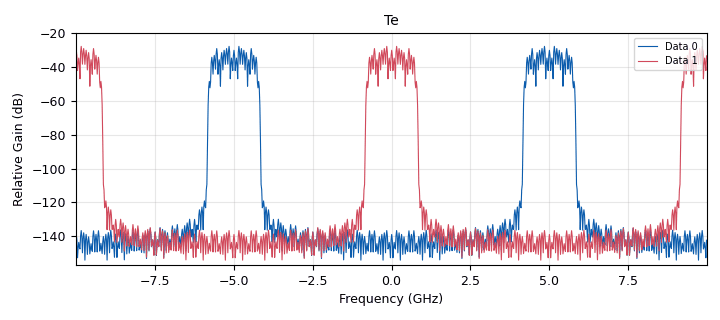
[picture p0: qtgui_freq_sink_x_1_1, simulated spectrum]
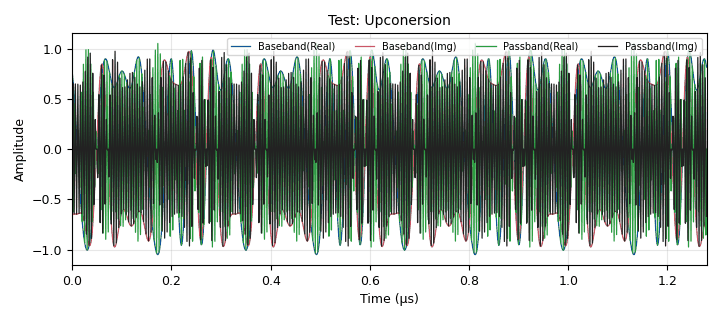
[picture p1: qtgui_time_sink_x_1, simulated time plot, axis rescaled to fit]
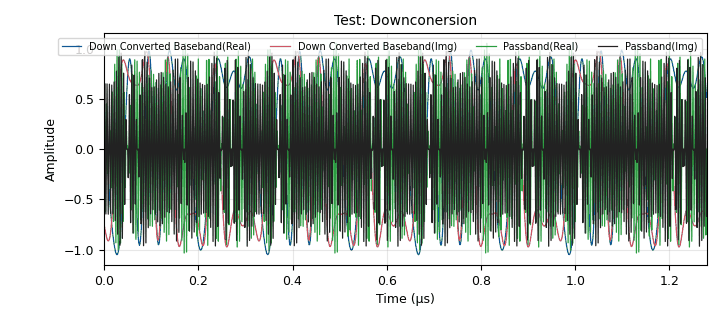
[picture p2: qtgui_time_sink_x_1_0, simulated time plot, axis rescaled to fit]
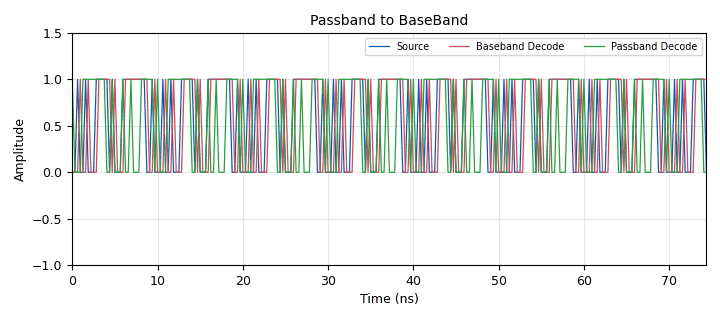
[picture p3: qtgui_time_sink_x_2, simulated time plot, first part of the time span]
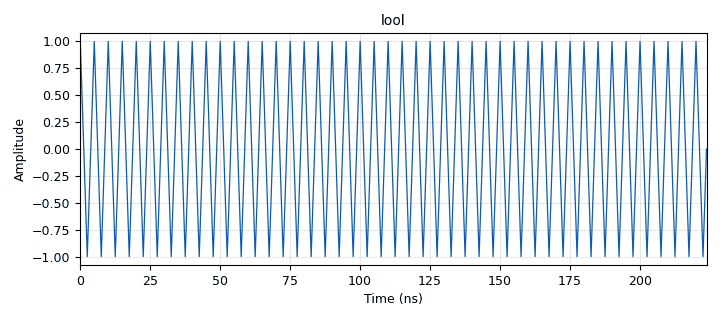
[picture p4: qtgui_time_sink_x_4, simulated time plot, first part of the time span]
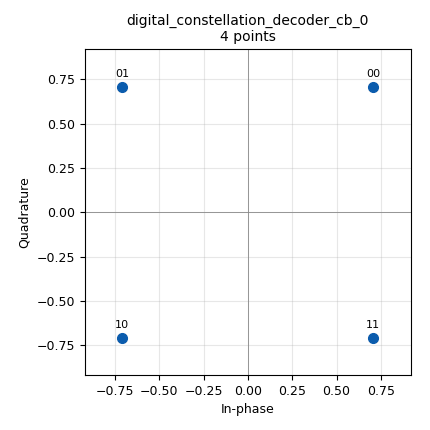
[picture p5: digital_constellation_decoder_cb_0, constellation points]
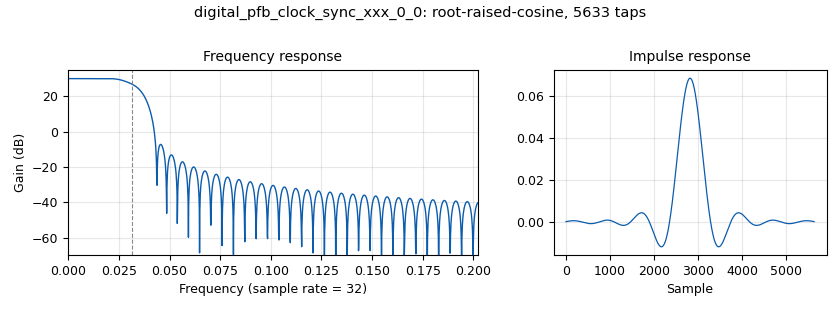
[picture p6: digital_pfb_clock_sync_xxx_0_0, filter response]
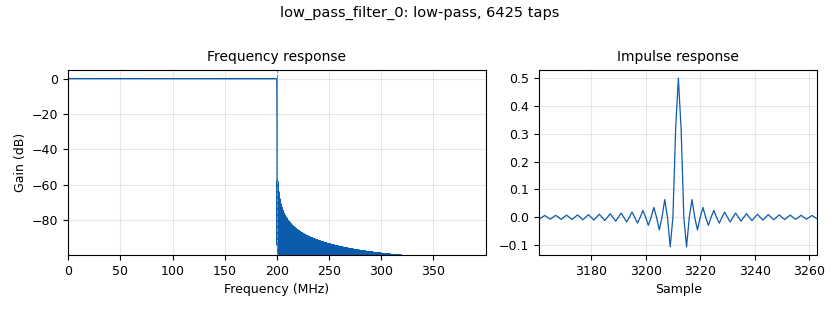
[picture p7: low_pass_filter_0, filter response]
<?xml version='1.0' encoding='utf-8'?>
<?grc format='1' created='3.7.11'?>
<flow_graph>
<block>
<key>options</key>
<param><key>id</key><value>message_test</value></param>
<param><key>generate_options</key><value>qt_gui</value></param>
</block>
<block>
<key>variable</key>
<param><key>id</key><value>arity</value></param>
<param><key>value</key><value>4</value></param>
</block>
<block>
<key>variable</key>
<param><key>id</key><value>center_freq</value></param>
<param><key>value</key><value>200e6</value></param>
</block>
<block>
<key>variable</key>
<param><key>id</key><value>down_var</value></param>
<param><key>value</key><value>12</value></param>
</block>
<block>
<key>variable</key>
<param><key>id</key><value>eq_gain</value></param>
<param><key>value</key><value>10e-3</value></param>
</block>
<block>
<key>variable</key>
<param><key>id</key><value>excess_bw</value></param>
<param><key>value</key><value>0.35</value></param>
</block>
<block>
<key>variable</key>
<param><key>id</key><value>lpf_cutoff_freq</value></param>
<param><key>value</key><value>center_freq</value></param>
</block>
<block>
<key>variable</key>
<param><key>id</key><value>lpf_transition_width</value></param>
<param><key>value</key><value>300e3</value></param>
</block>
<block>
<key>variable</key>
<param><key>id</key><value>nfilts</value></param>
<param><key>value</key><value>32</value></param>
</block>
<block>
<key>variable</key>
<param><key>id</key><value>phase_bw</value></param>
<param><key>value</key><value>62.8e-3</value></param>
</block>
<block>
<key>variable_constellation_rect</key>
<param><key>id</key><value>qpsk</value></param>
<param><key>const_points</key><value>[1+1j, -1+1j, -1-1j, 1-1j]</value></param>
<param><key>imag_sect</key><value>2</value></param>
<param><key>real_sect</key><value>2</value></param>
<param><key>rot_sym</key><value>4</value></param>
<param><key>sym_map</key><value>[0, 1, 2, 3]</value></param>
<param><key>w_imag_sect</key><value>1</value></param>
<param><key>w_real_sect</key><value>1</value></param>
</block>
<block>
<key>variable</key>
<param><key>id</key><value>rrc_taps</value></param>
<param><key>value</key><value>firdes.root_raised_cosine(nfilts, nfilts, 1.0/float(sps), 0.35, 11*sps*nfilts)</value></param>
</block>
<block>
<key>variable</key>
<param><key>id</key><value>samp_rate</value></param>
<param><key>value</key><value>800e6</value></param>
</block>
<block>
<key>variable</key>
<param><key>id</key><value>samp_rate_0</value></param>
<param><key>value</key><value>10e3</value></param>
</block>
<block>
<key>variable</key>
<param><key>id</key><value>sps</value></param>
<param><key>value</key><value>16</value></param>
</block>
<block>
<key>variable</key>
<param><key>id</key><value>taps</value></param>
<param><key>value</key><value>[1.0 + 0.0j, ]</value></param>
</block>
<block>
<key>variable</key>
<param><key>id</key><value>taps_0</value></param>
<param><key>value</key><value>[1.0, 0.25-0.25j, 0.50 + 0.10j, -0.3 + 0.2j]</value></param>
</block>
<block>
<key>variable</key>
<param><key>id</key><value>timing_loop_bw</value></param>
<param><key>value</key><value>62.8e-3</value></param>
</block>
<block>
<key>analog_random_source_x</key>
<param><key>id</key><value>analog_random_source_x_0</value></param>
<param><key>_enabled</key><value>0</value></param>
<param><key>max</key><value>255</value></param>
<param><key>min</key><value>254</value></param>
<param><key>num_samps</key><value>3000</value></param>
<param><key>type</key><value>byte</value></param>
<param><key>repeat</key><value>False</value></param>
</block>
<block>
<key>analog_sig_source_x</key>
<param><key>id</key><value>analog_sig_source_x_0</value></param>
<param><key>amp</key><value>1</value></param>
<param><key>freq</key><value>center_freq</value></param>
<param><key>offset</key><value>0</value></param>
<param><key>type</key><value>float</value></param>
<param><key>samp_rate</key><value>samp_rate</value></param>
<param><key>waveform</key><value>analog.GR_COS_WAVE</value></param>
</block>
<block>
<key>analog_sig_source_x</key>
<param><key>id</key><value>analog_sig_source_x_0_0</value></param>
<param><key>amp</key><value>-1</value></param>
<param><key>freq</key><value>center_freq</value></param>
<param><key>offset</key><value>0</value></param>
<param><key>type</key><value>float</value></param>
<param><key>samp_rate</key><value>samp_rate</value></param>
<param><key>waveform</key><value>analog.GR_SIN_WAVE</value></param>
</block>
<block>
<key>blks2_packet_decoder</key>
<param><key>id</key><value>blks2_packet_decoder_0</value></param>
<param><key>access_code</key><value></value></param>
<param><key>_enabled</key><value>0</value></param>
<param><key>type</key><value>byte</value></param>
<param><key>threshold</key><value>-1</value></param>
</block>
<block>
<key>blks2_packet_encoder</key>
<param><key>id</key><value>blks2_packet_encoder_0</value></param>
<param><key>access_code</key><value></value></param>
<param><key>bits_per_symbol</key><value>1</value></param>
<param><key>_enabled</key><value>0</value></param>
<param><key>type</key><value>byte</value></param>
<param><key>pad_for_usrp</key><value>False</value></param>
<param><key>payload_length</key><value>1</value></param>
<param><key>preamble</key><value></value></param>
<param><key>samples_per_symbol</key><value>1</value></param>
</block>
<block>
<key>blks2_tcp_sink</key>
<param><key>id</key><value>blks2_tcp_sink_0</value></param>
<param><key>addr</key><value>127.0.0.1</value></param>
<param><key>_enabled</key><value>0</value></param>
<param><key>type</key><value>byte</value></param>
<param><key>server</key><value>False</value></param>
<param><key>port</key><value>9989</value></param>
<param><key>vlen</key><value>1</value></param>
</block>
<block>
<key>blks2_tcp_source</key>
<param><key>id</key><value>blks2_tcp_source_0</value></param>
<param><key>addr</key><value>127.0.0.1</value></param>
<param><key>_enabled</key><value>0</value></param>
<param><key>server</key><value>True</value></param>
<param><key>type</key><value>byte</value></param>
<param><key>port</key><value>1234</value></param>
<param><key>vlen</key><value>1</value></param>
</block>
<block>
<key>blocks_char_to_float</key>
<param><key>id</key><value>blocks_char_to_float_1</value></param>
<param><key>scale</key><value>1</value></param>
</block>
<block>
<key>blocks_char_to_float</key>
<param><key>id</key><value>blocks_char_to_float_2</value></param>
<param><key>scale</key><value>1</value></param>
</block>
<block>
<key>blocks_char_to_float</key>
<param><key>id</key><value>blocks_char_to_float_3</value></param>
<param><key>scale</key><value>1</value></param>
</block>
<block>
<key>blocks_complex_to_float</key>
<param><key>id</key><value>blocks_complex_to_float_0</value></param>
</block>
<block>
<key>blocks_complex_to_float</key>
<param><key>id</key><value>blocks_complex_to_float_1</value></param>
</block>
<block>
<key>blocks_delay</key>
<param><key>id</key><value>blocks_delay_0</value></param>
<param><key>delay</key><value>58</value></param>
<param><key>_enabled</key><value>0</value></param>
<param><key>type</key><value>float</value></param>
</block>
<block>
<key>blocks_float_to_complex</key>
<param><key>id</key><value>blocks_float_to_complex_0</value></param>
</block>
<block>
<key>blocks_float_to_complex</key>
<param><key>id</key><value>blocks_float_to_complex_1</value></param>
</block>
<block>
<key>blocks_multiply_const_vxx</key>
<param><key>id</key><value>blocks_multiply_const_vxx_0</value></param>
<param><key>const</key><value>2</value></param>
<param><key>type</key><value>complex</value></param>
</block>
<block>
<key>blocks_multiply_xx</key>
<param><key>id</key><value>blocks_multiply_xx_0</value></param>
<param><key>type</key><value>float</value></param>
</block>
<block>
<key>blocks_multiply_xx</key>
<param><key>id</key><value>blocks_multiply_xx_0_0</value></param>
<param><key>type</key><value>float</value></param>
</block>
<block>
<key>blocks_multiply_xx</key>
<param><key>id</key><value>blocks_multiply_xx_0_0_0</value></param>
<param><key>type</key><value>float</value></param>
</block>
<block>
<key>blocks_multiply_xx</key>
<param><key>id</key><value>blocks_multiply_xx_0_1</value></param>
<param><key>type</key><value>float</value></param>
</block>
<block>
<key>blocks_stream_to_tagged_stream</key>
<param><key>id</key><value>blocks_stream_to_tagged_stream_0</value></param>
<param><key>_enabled</key><value>0</value></param>
<param><key>len_tag_key</key><value>"packet_len"</value></param>
<param><key>packet_len</key><value>4</value></param>
<param><key>type</key><value>byte</value></param>
</block>
<block>
<key>blocks_throttle</key>
<param><key>id</key><value>blocks_throttle_0</value></param>
<param><key>samples_per_second</key><value>10e6</value></param>
<param><key>type</key><value>byte</value></param>
</block>
<block>
<key>blocks_uchar_to_float</key>
<param><key>id</key><value>blocks_uchar_to_float_0_0</value></param>
<param><key>_enabled</key><value>0</value></param>
</block>
<block>
<key>blocks_unpack_k_bits_bb</key>
<param><key>id</key><value>blocks_unpack_k_bits_bb_0</value></param>
<param><key>k</key><value>2</value></param>
</block>
<block>
<key>blocks_unpack_k_bits_bb</key>
<param><key>id</key><value>blocks_unpack_k_bits_bb_1</value></param>
<param><key>k</key><value>8</value></param>
</block>
<block>
<key>blocks_unpack_k_bits_bb</key>
<param><key>id</key><value>blocks_unpack_k_bits_bb_2</value></param>
<param><key>k</key><value>2</value></param>
</block>
<block>
<key>blocks_vector_source_x</key>
<param><key>id</key><value>blocks_vector_source_x_0</value></param>
<param><key>type</key><value>byte</value></param>
<param><key>repeat</key><value>True</value></param>
<param><key>vector</key><value>(255, 145, 35,  232)</value></param>
</block>
<block>
<key>blocks_delay</key>
<param><key>id</key><value>delay1</value></param>
<param><key>delay</key><value>down_var-10</value></param>
<param><key>type</key><value>float</value></param>
</block>
<block>
<key>blocks_delay</key>
<param><key>id</key><value>delay1_0</value></param>
<param><key>delay</key><value>58+down_var-7</value></param>
<param><key>type</key><value>byte</value></param>
</block>
<block>
<key>digital_constellation_decoder_cb</key>
<param><key>id</key><value>digital_constellation_decoder_cb_0</value></param>
<param><key>constellation</key><value>qpsk</value></param>
</block>
<block>
<key>digital_constellation_decoder_cb</key>
<param><key>id</key><value>digital_constellation_decoder_cb_0_0</value></param>
<param><key>constellation</key><value>qpsk</value></param>
</block>
<block>
<key>digital_constellation_modulator</key>
<param><key>id</key><value>digital_constellation_modulator_0</value></param>
<param><key>constellation</key><value>qpsk</value></param>
<param><key>differential</key><value>False</value></param>
<param><key>excess_bw</key><value>excess_bw</value></param>
<param><key>samples_per_symbol</key><value>sps</value></param>
<param><key>verbose</key><value>True</value></param>
</block>
<block>
<key>digital_map_bb</key>
<param><key>id</key><value>digital_map_bb_0_0</value></param>
<param><key>map</key><value>qpsk.pre_diff_code()</value></param>
</block>
<block>
<key>digital_map_bb</key>
<param><key>id</key><value>digital_map_bb_0_0_0</value></param>
<param><key>map</key><value>qpsk.pre_diff_code()</value></param>
</block>
<block>
<key>digital_pfb_clock_sync_xxx</key>
<param><key>id</key><value>digital_pfb_clock_sync_xxx_0_0</value></param>
<param><key>filter_size</key><value>nfilts</value></param>
<param><key>init_phase</key><value>nfilts/2</value></param>
<param><key>loop_bw</key><value>timing_loop_bw</value></param>
<param><key>max_dev</key><value>1.5</value></param>
<param><key>osps</key><value>1</value></param>
<param><key>sps</key><value>sps</value></param>
<param><key>taps</key><value>rrc_taps</value></param>
<param><key>type</key><value>ccf</value></param>
</block>
<block>
<key>digital_pfb_clock_sync_xxx</key>
<param><key>id</key><value>digital_pfb_clock_sync_xxx_0_0_0</value></param>
<param><key>filter_size</key><value>nfilts</value></param>
<param><key>init_phase</key><value>nfilts/2</value></param>
<param><key>loop_bw</key><value>timing_loop_bw</value></param>
<param><key>max_dev</key><value>1.5</value></param>
<param><key>osps</key><value>1</value></param>
<param><key>sps</key><value>sps</value></param>
<param><key>taps</key><value>rrc_taps</value></param>
<param><key>type</key><value>ccf</value></param>
</block>
<block>
<key>low_pass_filter</key>
<param><key>id</key><value>low_pass_filter_0</value></param>
<param><key>cutoff_freq</key><value>lpf_cutoff_freq</value></param>
<param><key>decim</key><value>1</value></param>
<param><key>type</key><value>fir_filter_fff</value></param>
<param><key>gain</key><value>1</value></param>
<param><key>samp_rate</key><value>samp_rate</value></param>
<param><key>width</key><value>lpf_transition_width</value></param>
<param><key>win</key><value>firdes.WIN_HAMMING</value></param>
</block>
<block>
<key>low_pass_filter</key>
<param><key>id</key><value>low_pass_filter_0_0</value></param>
<param><key>cutoff_freq</key><value>lpf_cutoff_freq</value></param>
<param><key>decim</key><value>1</value></param>
<param><key>type</key><value>fir_filter_fff</value></param>
<param><key>gain</key><value>1</value></param>
<param><key>samp_rate</key><value>samp_rate</value></param>
<param><key>width</key><value>lpf_transition_width</value></param>
<param><key>win</key><value>firdes.WIN_HAMMING</value></param>
</block>
<block>
<key>note</key>
<param><key>id</key><value>note_0</value></param>
<param><key>_enabled</key><value>0</value></param>
<param><key>note</key><value>Output SPS has to be 1 to have Const Sink to work</value></param>
</block>
<block>
<key>qtgui_const_sink_x</key>
<param><key>id</key><value>qtgui_const_sink_x_0</value></param>
<param><key>_enabled</key><value>0</value></param>
<param><key>size</key><value>1024</value></param>
<param><key>type</key><value>complex</value></param>
</block>
<block>
<key>qtgui_freq_sink_x</key>
<param><key>id</key><value>qtgui_freq_sink_x_1</value></param>
<param><key>autoscale</key><value>True</value></param>
<param><key>bw</key><value>samp_rate*50</value></param>
<param><key>fc</key><value>3e6</value></param>
<param><key>_enabled</key><value>0</value></param>
<param><key>fftsize</key><value>1024</value></param>
<param><key>name</key><value>"Bandpass Demod Freq"</value></param>
<param><key>showports</key><value>True</value></param>
<param><key>type</key><value>complex</value></param>
<param><key>wintype</key><value>firdes.WIN_BLACKMAN_hARRIS</value></param>
<param><key>ymax</key><value>0</value></param>
<param><key>ymin</key><value>-100</value></param>
</block>
<block>
<key>qtgui_freq_sink_x</key>
<param><key>id</key><value>qtgui_freq_sink_x_1_0</value></param>
<param><key>bw</key><value>samp_rate</value></param>
<param><key>fc</key><value>0</value></param>
<param><key>_enabled</key><value>0</value></param>
<param><key>fftsize</key><value>1024</value></param>
<param><key>name</key><value>"Baseband Freq"</value></param>
<param><key>showports</key><value>True</value></param>
<param><key>type</key><value>complex</value></param>
<param><key>wintype</key><value>firdes.WIN_BLACKMAN_hARRIS</value></param>
<param><key>ymax</key><value>0</value></param>
<param><key>ymin</key><value>-100</value></param>
</block>
<block>
<key>qtgui_freq_sink_x</key>
<param><key>id</key><value>qtgui_freq_sink_x_1_1</value></param>
<param><key>autoscale</key><value>True</value></param>
<param><key>bw</key><value>20e9</value></param>
<param><key>fc</key><value>3e6</value></param>
<param><key>fftsize</key><value>1024</value></param>
<param><key>label2</key><value></value></param>
<param><key>name</key><value>"Te"</value></param>
<param><key>nconnections</key><value>2</value></param>
<param><key>showports</key><value>True</value></param>
<param><key>type</key><value>float</value></param>
<param><key>wintype</key><value>firdes.WIN_BLACKMAN_hARRIS</value></param>
<param><key>ymax</key><value>0</value></param>
<param><key>ymin</key><value>-100</value></param>
</block>
<block>
<key>qtgui_time_sink_x</key>
<param><key>id</key><value>qtgui_time_sink_x_0</value></param>
<param><key>_enabled</key><value>0</value></param>
<param><key>color1</key><value>"blue"</value></param>
<param><key>label1</key><value>Input Bits</value></param>
<param><key>color2</key><value>"red"</value></param>
<param><key>label2</key><value>Output Bits</value></param>
<param><key>name</key><value>"Numbers Before and After Modulation"</value></param>
<param><key>nconnections</key><value>2</value></param>
<param><key>size</key><value>1024</value></param>
<param><key>srate</key><value>samp_rate</value></param>
<param><key>tr_level</key><value>1</value></param>
<param><key>tr_mode</key><value>qtgui.TRIG_MODE_NORM</value></param>
<param><key>tr_tag</key><value>"packet_len"</value></param>
<param><key>type</key><value>float</value></param>
<param><key>ymax</key><value>1.5</value></param>
<param><key>ymin</key><value>-0.5</value></param>
</block>
<block>
<key>qtgui_time_sink_x</key>
<param><key>id</key><value>qtgui_time_sink_x_1</value></param>
<param><key>color1</key><value>"blue"</value></param>
<param><key>label1</key><value>Baseband(Real)</value></param>
<param><key>color2</key><value>"blue"</value></param>
<param><key>label2</key><value>Baseband(Img)</value></param>
<param><key>color3</key><value>"green"</value></param>
<param><key>label3</key><value>Passband(Real)</value></param>
<param><key>color4</key><value>"black"</value></param>
<param><key>label4</key><value>Passband(Img)</value></param>
<param><key>name</key><value>"Test: Upconersion"</value></param>
<param><key>nconnections</key><value>2</value></param>
<param><key>size</key><value>1024</value></param>
<param><key>srate</key><value>samp_rate</value></param>
<param><key>type</key><value>complex</value></param>
</block>
<block>
<key>qtgui_time_sink_x</key>
<param><key>id</key><value>qtgui_time_sink_x_1_0</value></param>
<param><key>color1</key><value>"blue"</value></param>
<param><key>label1</key><value>Down Converted Baseband(Real)</value></param>
<param><key>color2</key><value>"red"</value></param>
<param><key>label2</key><value>Down Converted Baseband(Img)</value></param>
<param><key>color3</key><value>"green"</value></param>
<param><key>label3</key><value>Passband(Real)</value></param>
<param><key>color4</key><value>"black"</value></param>
<param><key>label4</key><value>Passband(Img)</value></param>
<param><key>name</key><value>"Test: Downconersion"</value></param>
<param><key>nconnections</key><value>2</value></param>
<param><key>size</key><value>1024</value></param>
<param><key>srate</key><value>samp_rate</value></param>
<param><key>type</key><value>complex</value></param>
</block>
<block>
<key>qtgui_time_sink_x</key>
<param><key>id</key><value>qtgui_time_sink_x_2</value></param>
<param><key>color1</key><value>"blue"</value></param>
<param><key>label1</key><value>Source</value></param>
<param><key>color2</key><value>"red"</value></param>
<param><key>label2</key><value>Baseband Decode</value></param>
<param><key>color3</key><value>"green"</value></param>
<param><key>label3</key><value>Passband Decode</value></param>
<param><key>name</key><value>"Passband to BaseBand"</value></param>
<param><key>nconnections</key><value>3</value></param>
<param><key>size</key><value>500</value></param>
<param><key>srate</key><value>samp_rate*4</value></param>
<param><key>tr_level</key><value>1</value></param>
<param><key>type</key><value>float</value></param>
<param><key>ymax</key><value>1.5</value></param>
</block>
<block>
<key>qtgui_time_sink_x</key>
<param><key>id</key><value>qtgui_time_sink_x_3</value></param>
<param><key>_enabled</key><value>0</value></param>
<param><key>color1</key><value>"blue"</value></param>
<param><key>label1</key><value></value></param>
<param><key>color2</key><value>"red"</value></param>
<param><key>label2</key><value></value></param>
<param><key>name</key><value>"Down Conversion"</value></param>
<param><key>size</key><value>1024</value></param>
<param><key>srate</key><value>samp_rate</value></param>
<param><key>type</key><value>complex</value></param>
</block>
<block>
<key>qtgui_time_sink_x</key>
<param><key>id</key><value>qtgui_time_sink_x_4</value></param>
<param><key>color1</key><value>"blue"</value></param>
<param><key>label1</key><value></value></param>
<param><key>name</key><value>"lool"</value></param>
<param><key>size</key><value>1024*2</value></param>
<param><key>srate</key><value>samp_rate</value></param>
<param><key>type</key><value>float</value></param>
</block>
<block>
<key>virtual_sink</key>
<param><key>id</key><value>virtual_sink_0</value></param>
<param><key>stream_id</key><value>source</value></param>
</block>
<block>
<key>virtual_sink</key>
<param><key>id</key><value>virtual_sink_1</value></param>
<param><key>stream_id</key><value>0</value></param>
</block>
<block>
<key>virtual_sink</key>
<param><key>id</key><value>virtual_sink_2</value></param>
<param><key>stream_id</key><value>2</value></param>
</block>
<block>
<key>virtual_sink</key>
<param><key>id</key><value>virtual_sink_3</value></param>
<param><key>stream_id</key><value>baseband_decode</value></param>
</block>
<block>
<key>virtual_sink</key>
<param><key>id</key><value>virtual_sink_4</value></param>
<param><key>stream_id</key><value>bandpass</value></param>
</block>
<block>
<key>virtual_sink</key>
<param><key>id</key><value>virtual_sink_5</value></param>
<param><key>stream_id</key><value>Cosine</value></param>
</block>
<block>
<key>virtual_sink</key>
<param><key>id</key><value>virtual_sink_5_0</value></param>
<param><key>stream_id</key><value>Sine</value></param>
</block>
<block>
<key>virtual_sink</key>
<param><key>id</key><value>virtual_sink_6</value></param>
<param><key>stream_id</key><value>5</value></param>
</block>
<block>
<key>virtual_source</key>
<param><key>id</key><value>virtual_source_0</value></param>
<param><key>stream_id</key><value>0</value></param>
</block>
<block>
<key>virtual_source</key>
<param><key>id</key><value>virtual_source_0_0</value></param>
<param><key>stream_id</key><value>0</value></param>
</block>
<block>
<key>virtual_source</key>
<param><key>id</key><value>virtual_source_1</value></param>
<param><key>stream_id</key><value>bandpass</value></param>
</block>
<block>
<key>virtual_source</key>
<param><key>id</key><value>virtual_source_1_0</value></param>
<param><key>stream_id</key><value>bandpass</value></param>
</block>
<block>
<key>virtual_source</key>
<param><key>id</key><value>virtual_source_1_0_0</value></param>
<param><key>stream_id</key><value>bandpass</value></param>
</block>
<block>
<key>virtual_source</key>
<param><key>id</key><value>virtual_source_2</value></param>
<param><key>stream_id</key><value>5</value></param>
</block>
<block>
<key>virtual_source</key>
<param><key>id</key><value>virtual_source_2_0</value></param>
<param><key>stream_id</key><value>Cosine</value></param>
</block>
<block>
<key>virtual_source</key>
<param><key>id</key><value>virtual_source_2_0_0</value></param>
<param><key>stream_id</key><value>Sine</value></param>
</block>
<block>
<key>virtual_source</key>
<param><key>id</key><value>virtual_source_2_0_0_0</value></param>
<param><key>stream_id</key><value>Sine</value></param>
</block>
<block>
<key>virtual_source</key>
<param><key>id</key><value>virtual_source_2_0_1</value></param>
<param><key>stream_id</key><value>Cosine</value></param>
</block>
<block>
<key>virtual_source</key>
<param><key>id</key><value>virtual_source_3</value></param>
<param><key>_enabled</key><value>0</value></param>
<param><key>stream_id</key><value>5</value></param>
</block>
<block>
<key>virtual_source</key>
<param><key>id</key><value>virtual_source_4</value></param>
<param><key>stream_id</key><value>source</value></param>
</block>
<block>
<key>virtual_source</key>
<param><key>id</key><value>virtual_source_5</value></param>
<param><key>stream_id</key><value>baseband_decode</value></param>
</block>
<block>
<key>virtual_source</key>
<param><key>id</key><value>virtual_source_6</value></param>
<param><key>_enabled</key><value>0</value></param>
<param><key>stream_id</key><value>source</value></param>
</block>
<block>
<key>virtual_source</key>
<param><key>id</key><value>virtual_source_7</value></param>
<param><key>stream_id</key><value>0</value></param>
</block>
<block>
<key>virtual_source</key>
<param><key>id</key><value>virtual_source_7_0</value></param>
<param><key>stream_id</key><value>5</value></param>
</block>
<connection><source_block_id>analog_random_source_x_0</source_block_id><sink_block_id>blocks_throttle_0</sink_block_id><source_key>0</source_key><sink_key>0</sink_key></connection>
<connection><source_block_id>analog_sig_source_x_0</source_block_id><sink_block_id>qtgui_time_sink_x_4</sink_block_id><source_key>0</source_key><sink_key>0</sink_key></connection>
<connection><source_block_id>analog_sig_source_x_0</source_block_id><sink_block_id>virtual_sink_5</sink_block_id><source_key>0</source_key><sink_key>0</sink_key></connection>
<connection><source_block_id>analog_sig_source_x_0_0</source_block_id><sink_block_id>virtual_sink_5_0</sink_block_id><source_key>0</source_key><sink_key>0</sink_key></connection>
<connection><source_block_id>blks2_packet_decoder_0</source_block_id><sink_block_id>blks2_tcp_sink_0</sink_block_id><source_key>0</source_key><sink_key>0</sink_key></connection>
<connection><source_block_id>blks2_packet_encoder_0</source_block_id><sink_block_id>blocks_throttle_0</sink_block_id><source_key>0</source_key><sink_key>0</sink_key></connection>
<connection><source_block_id>blks2_tcp_source_0</source_block_id><sink_block_id>blks2_packet_encoder_0</sink_block_id><source_key>0</source_key><sink_key>0</sink_key></connection>
<connection><source_block_id>blocks_char_to_float_1</source_block_id><sink_block_id>qtgui_time_sink_x_2</sink_block_id><source_key>0</source_key><sink_key>0</sink_key></connection>
<connection><source_block_id>blocks_char_to_float_2</source_block_id><sink_block_id>qtgui_time_sink_x_0</sink_block_id><source_key>0</source_key><sink_key>1</sink_key></connection>
<connection><source_block_id>blocks_char_to_float_2</source_block_id><sink_block_id>virtual_sink_3</sink_block_id><source_key>0</source_key><sink_key>0</sink_key></connection>
<connection><source_block_id>blocks_char_to_float_3</source_block_id><sink_block_id>qtgui_time_sink_x_2</sink_block_id><source_key>0</source_key><sink_key>2</sink_key></connection>
<connection><source_block_id>blocks_complex_to_float_0</source_block_id><sink_block_id>blocks_multiply_xx_0_0</sink_block_id><source_key>1</source_key><sink_key>0</sink_key></connection>
<connection><source_block_id>blocks_complex_to_float_0</source_block_id><sink_block_id>blocks_multiply_xx_0</sink_block_id><source_key>0</source_key><sink_key>0</sink_key></connection>
<connection><source_block_id>blocks_complex_to_float_1</source_block_id><sink_block_id>blocks_multiply_xx_0_0_0</sink_block_id><source_key>1</source_key><sink_key>0</sink_key></connection>
<connection><source_block_id>blocks_complex_to_float_1</source_block_id><sink_block_id>blocks_multiply_xx_0_1</sink_block_id><source_key>0</source_key><sink_key>0</sink_key></connection>
<connection><source_block_id>blocks_delay_0</source_block_id><sink_block_id>qtgui_time_sink_x_0</sink_block_id><source_key>0</source_key><sink_key>0</sink_key></connection>
<connection><source_block_id>blocks_float_to_complex_0</source_block_id><sink_block_id>blocks_multiply_const_vxx_0</sink_block_id><source_key>0</source_key><sink_key>0</sink_key></connection>
<connection><source_block_id>blocks_float_to_complex_0</source_block_id><sink_block_id>qtgui_freq_sink_x_1</sink_block_id><source_key>0</source_key><sink_key>0</sink_key></connection>
<connection><source_block_id>blocks_float_to_complex_1</source_block_id><sink_block_id>virtual_sink_4</sink_block_id><source_key>0</source_key><sink_key>0</sink_key></connection>
<connection><source_block_id>blocks_multiply_const_vxx_0</source_block_id><sink_block_id>virtual_sink_6</sink_block_id><source_key>0</source_key><sink_key>0</sink_key></connection>
<connection><source_block_id>blocks_multiply_xx_0</source_block_id><sink_block_id>blocks_float_to_complex_1</sink_block_id><source_key>0</source_key><sink_key>0</sink_key></connection>
<connection><source_block_id>blocks_multiply_xx_0</source_block_id><sink_block_id>qtgui_freq_sink_x_1_1</sink_block_id><source_key>0</source_key><sink_key>0</sink_key></connection>
<connection><source_block_id>blocks_multiply_xx_0_0</source_block_id><sink_block_id>blocks_float_to_complex_1</sink_block_id><source_key>0</source_key><sink_key>1</sink_key></connection>
<connection><source_block_id>blocks_multiply_xx_0_0_0</source_block_id><sink_block_id>low_pass_filter_0_0</sink_block_id><source_key>0</source_key><sink_key>0</sink_key></connection>
<connection><source_block_id>blocks_multiply_xx_0_1</source_block_id><sink_block_id>low_pass_filter_0</sink_block_id><source_key>0</source_key><sink_key>0</sink_key></connection>
<connection><source_block_id>blocks_multiply_xx_0_1</source_block_id><sink_block_id>qtgui_freq_sink_x_1_1</sink_block_id><source_key>0</source_key><sink_key>1</sink_key></connection>
<connection><source_block_id>blocks_stream_to_tagged_stream_0</source_block_id><sink_block_id>digital_constellation_modulator_0</sink_block_id><source_key>0</source_key><sink_key>0</sink_key></connection>
<connection><source_block_id>blocks_throttle_0</source_block_id><sink_block_id>blocks_stream_to_tagged_stream_0</sink_block_id><source_key>0</source_key><sink_key>0</sink_key></connection>
<connection><source_block_id>blocks_throttle_0</source_block_id><sink_block_id>blocks_unpack_k_bits_bb_1</sink_block_id><source_key>0</source_key><sink_key>0</sink_key></connection>
<connection><source_block_id>blocks_throttle_0</source_block_id><sink_block_id>digital_constellation_modulator_0</sink_block_id><source_key>0</source_key><sink_key>0</sink_key></connection>
<connection><source_block_id>blocks_uchar_to_float_0_0</source_block_id><sink_block_id>blocks_delay_0</sink_block_id><source_key>0</source_key><sink_key>0</sink_key></connection>
<connection><source_block_id>blocks_unpack_k_bits_bb_0</source_block_id><sink_block_id>blocks_char_to_float_2</sink_block_id><source_key>0</source_key><sink_key>0</sink_key></connection>
<connection><source_block_id>blocks_unpack_k_bits_bb_1</source_block_id><sink_block_id>virtual_sink_0</sink_block_id><source_key>0</source_key><sink_key>0</sink_key></connection>
<connection><source_block_id>blocks_unpack_k_bits_bb_2</source_block_id><sink_block_id>blocks_char_to_float_3</sink_block_id><source_key>0</source_key><sink_key>0</sink_key></connection>
<connection><source_block_id>blocks_vector_source_x_0</source_block_id><sink_block_id>blocks_throttle_0</sink_block_id><source_key>0</source_key><sink_key>0</sink_key></connection>
<connection><source_block_id>delay1</source_block_id><sink_block_id>qtgui_time_sink_x_2</sink_block_id><source_key>0</source_key><sink_key>1</sink_key></connection>
<connection><source_block_id>delay1_0</source_block_id><sink_block_id>blocks_char_to_float_1</sink_block_id><source_key>0</source_key><sink_key>0</sink_key></connection>
<connection><source_block_id>digital_constellation_decoder_cb_0</source_block_id><sink_block_id>digital_map_bb_0_0_0</sink_block_id><source_key>0</source_key><sink_key>0</sink_key></connection>
<connection><source_block_id>digital_constellation_decoder_cb_0_0</source_block_id><sink_block_id>digital_map_bb_0_0</sink_block_id><source_key>0</source_key><sink_key>0</sink_key></connection>
<connection><source_block_id>digital_constellation_modulator_0</source_block_id><sink_block_id>qtgui_freq_sink_x_1_0</sink_block_id><source_key>0</source_key><sink_key>0</sink_key></connection>
<connection><source_block_id>digital_constellation_modulator_0</source_block_id><sink_block_id>virtual_sink_1</sink_block_id><source_key>0</source_key><sink_key>0</sink_key></connection>
<connection><source_block_id>digital_map_bb_0_0</source_block_id><sink_block_id>blks2_packet_decoder_0</sink_block_id><source_key>0</source_key><sink_key>0</sink_key></connection>
<connection><source_block_id>digital_map_bb_0_0</source_block_id><sink_block_id>blocks_unpack_k_bits_bb_2</sink_block_id><source_key>0</source_key><sink_key>0</sink_key></connection>
<connection><source_block_id>digital_map_bb_0_0_0</source_block_id><sink_block_id>blocks_unpack_k_bits_bb_0</sink_block_id><source_key>0</source_key><sink_key>0</sink_key></connection>
<connection><source_block_id>digital_pfb_clock_sync_xxx_0_0</source_block_id><sink_block_id>digital_constellation_decoder_cb_0</sink_block_id><source_key>0</source_key><sink_key>0</sink_key></connection>
<connection><source_block_id>digital_pfb_clock_sync_xxx_0_0</source_block_id><sink_block_id>qtgui_const_sink_x_0</sink_block_id><source_key>0</source_key><sink_key>0</sink_key></connection>
<connection><source_block_id>digital_pfb_clock_sync_xxx_0_0</source_block_id><sink_block_id>virtual_sink_2</sink_block_id><source_key>0</source_key><sink_key>0</sink_key></connection>
<connection><source_block_id>digital_pfb_clock_sync_xxx_0_0_0</source_block_id><sink_block_id>digital_constellation_decoder_cb_0_0</sink_block_id><source_key>0</source_key><sink_key>0</sink_key></connection>
<connection><source_block_id>low_pass_filter_0</source_block_id><sink_block_id>blocks_float_to_complex_0</sink_block_id><source_key>0</source_key><sink_key>0</sink_key></connection>
<connection><source_block_id>low_pass_filter_0_0</source_block_id><sink_block_id>blocks_float_to_complex_0</sink_block_id><source_key>0</source_key><sink_key>1</sink_key></connection>
<connection><source_block_id>virtual_source_0</source_block_id><sink_block_id>digital_pfb_clock_sync_xxx_0_0</sink_block_id><source_key>0</source_key><sink_key>0</sink_key></connection>
<connection><source_block_id>virtual_source_0_0</source_block_id><sink_block_id>blocks_complex_to_float_0</sink_block_id><source_key>0</source_key><sink_key>0</sink_key></connection>
<connection><source_block_id>virtual_source_1</source_block_id><sink_block_id>blocks_complex_to_float_1</sink_block_id><source_key>0</source_key><sink_key>0</sink_key></connection>
<connection><source_block_id>virtual_source_1_0</source_block_id><sink_block_id>qtgui_time_sink_x_1</sink_block_id><source_key>0</source_key><sink_key>1</sink_key></connection>
<connection><source_block_id>virtual_source_1_0_0</source_block_id><sink_block_id>qtgui_time_sink_x_1_0</sink_block_id><source_key>0</source_key><sink_key>1</sink_key></connection>
<connection><source_block_id>virtual_source_2</source_block_id><sink_block_id>digital_pfb_clock_sync_xxx_0_0_0</sink_block_id><source_key>0</source_key><sink_key>0</sink_key></connection>
<connection><source_block_id>virtual_source_2_0</source_block_id><sink_block_id>blocks_multiply_xx_0_1</sink_block_id><source_key>0</source_key><sink_key>1</sink_key></connection>
<connection><source_block_id>virtual_source_2_0_0</source_block_id><sink_block_id>blocks_multiply_xx_0_0_0</sink_block_id><source_key>0</source_key><sink_key>1</sink_key></connection>
<connection><source_block_id>virtual_source_2_0_0_0</source_block_id><sink_block_id>blocks_multiply_xx_0_0</sink_block_id><source_key>0</source_key><sink_key>1</sink_key></connection>
<connection><source_block_id>virtual_source_2_0_1</source_block_id><sink_block_id>blocks_multiply_xx_0</sink_block_id><source_key>0</source_key><sink_key>1</sink_key></connection>
<connection><source_block_id>virtual_source_3</source_block_id><sink_block_id>qtgui_time_sink_x_3</sink_block_id><source_key>0</source_key><sink_key>0</sink_key></connection>
<connection><source_block_id>virtual_source_4</source_block_id><sink_block_id>delay1_0</sink_block_id><source_key>0</source_key><sink_key>0</sink_key></connection>
<connection><source_block_id>virtual_source_5</source_block_id><sink_block_id>delay1</sink_block_id><source_key>0</source_key><sink_key>0</sink_key></connection>
<connection><source_block_id>virtual_source_6</source_block_id><sink_block_id>blocks_uchar_to_float_0_0</sink_block_id><source_key>0</source_key><sink_key>0</sink_key></connection>
<connection><source_block_id>virtual_source_7</source_block_id><sink_block_id>qtgui_time_sink_x_1</sink_block_id><source_key>0</source_key><sink_key>0</sink_key></connection>
<connection><source_block_id>virtual_source_7_0</source_block_id><sink_block_id>qtgui_time_sink_x_1_0</sink_block_id><source_key>0</source_key><sink_key>0</sink_key></connection>
</flow_graph>
